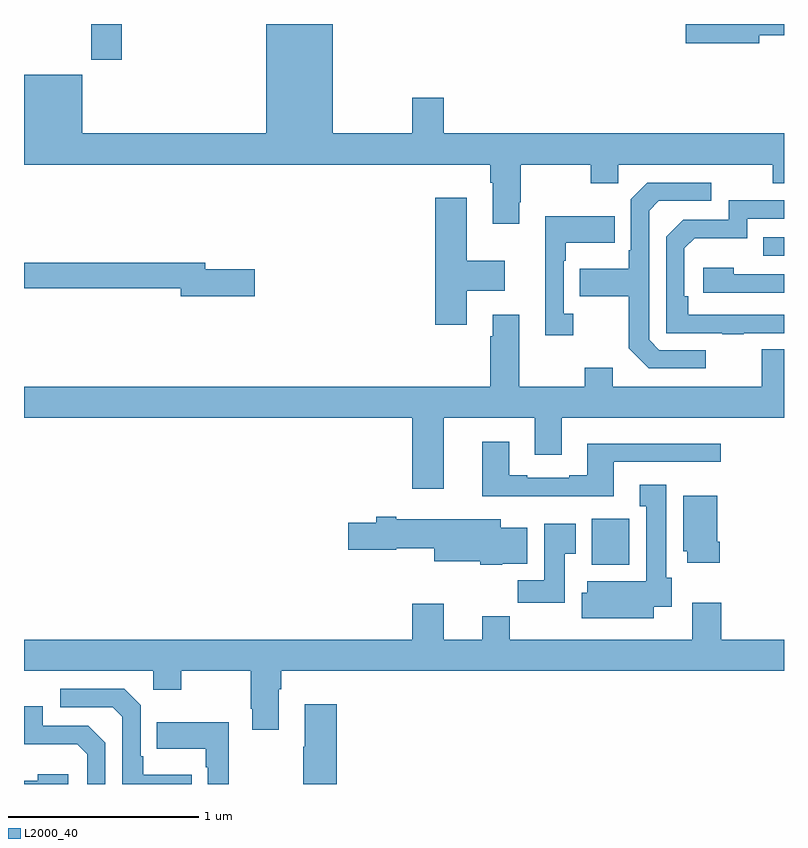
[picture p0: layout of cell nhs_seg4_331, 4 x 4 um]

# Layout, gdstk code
import gdstk
lib = gdstk.Library(unit=1e-6, precision=1e-09)
def R(c, l, rs):  # rectangles x0, y0, x1, y1
    for r in rs: c.add(gdstk.rectangle(r[:2], r[2:], *l))
def P(c, l, *ps):  # polygons
    for p in ps: c.add(gdstk.Polygon(p, *l))
L2000_40 = (2000, 40)

nhs_seg4_331 = lib.new_cell('nhs_seg4_331')
R(nhs_seg4_331, L2000_40, [(129.989,788.054,130.186,788.296), (130.891,789.681,131,789.777), (127.354,790.713,127.514,790.9)])
P(nhs_seg4_331, L2000_40, [(129.607,789.961),(129.614,789.961),(129.614,790.16),(129.982,790.16),(129.982,790.061),(130.128,790.061),(130.128,790.16),(130.942,790.16),(130.942,790.061),(131,790.061),(131,790.324),(129.208,790.324),(129.208,790.513),(129.044,790.513),(129.044,790.324),(128.626,790.324),(128.626,790.9),(128.276,790.9),(128.276,790.324),(127.306,790.324),(127.306,790.633),(127,790.633),(127,790.16),(129.455,790.16),(129.455,790.064),(129.467,790.064),(129.467,789.849),(129.607,789.849)],
  [(130.87,790.84),(131,790.84),(131,790.9),(130.482,790.9),(130.482,790.798),(130.87,790.798)],
  [(130.588,789.183),(130.344,789.183),(130.29,789.237),(130.29,789.918),(130.341,789.969),(130.618,789.969),(130.618,790.065),(130.281,790.065),(130.194,789.978),(130.194,789.709),(130.182,789.709),(130.182,789.613),(129.925,789.613),(129.925,789.466),(130.182,789.466),(130.182,789.193),(130.287,789.087),(130.588,789.087)],
  [(129.331,789.497),(129.529,789.497),(129.529,789.655),(129.331,789.655),(129.331,789.985),(129.164,789.985),(129.164,789.318),(129.331,789.318)],
  [(130.787,789.273),(131,789.273),(131,789.369),(130.496,789.369),(130.496,789.466),(130.476,789.466),(130.476,789.72),(130.529,789.773),(130.806,789.773),(130.806,789.876),(131,789.876),(131,789.972),(130.71,789.972),(130.71,789.87),(130.47,789.87),(130.38,789.78),(130.38,789.273),(130.675,789.273),(130.675,789.268),(130.787,789.268)],
  [(129.892,789.374),(129.84,789.374),(129.84,789.653),(129.852,789.653),(129.852,789.749),(130.109,789.749),(130.109,789.889),(129.743,789.889),(129.743,789.261),(129.892,789.261)],
  [(128.215,789.608),(127.954,789.608),(127.954,789.644),(127,789.644),(127,789.508),(127.826,789.508),(127.826,789.466),(128.215,789.466)],
  [(131,789.582),(130.736,789.582),(130.736,789.616),(130.575,789.616),(130.575,789.486),(131,789.486)],
  [(129.208,788.828),(129.689,788.828),(129.689,788.634),(129.829,788.634),(129.829,788.828),(131,788.828),(131,789.187),(130.883,789.187),(130.883,788.992),(130.099,788.992),(130.099,789.091),(129.952,789.091),(129.952,788.992),(129.607,788.992),(129.607,789.37),(129.467,789.37),(129.467,789.257),(129.455,789.257),(129.455,788.992),(127,788.992),(127,788.828),(129.044,788.828),(129.044,788.454),(129.208,788.454)],
  [(130.105,788.595),(130.666,788.595),(130.666,788.692),(129.965,788.692),(129.965,788.524),(129.869,788.524),(129.869,788.511),(129.649,788.511),(129.649,788.524),(129.553,788.524),(129.553,788.701),(129.413,788.701),(129.413,788.414),(130.105,788.414)],
  [(130.315,787.832),(130.408,787.832),(130.408,787.986),(130.381,787.986),(130.381,788.476),(130.241,788.476),(130.241,788.363),(130.274,788.363),(130.274,787.966),(129.965,787.966),(129.965,787.907),(129.935,787.907),(129.935,787.772),(130.315,787.772)],
  [(130.661,788.176),(130.648,788.176),(130.648,788.416),(130.469,788.416),(130.469,788.124),(130.49,788.124),(130.49,788.064),(130.661,788.064)],
  [(129.516,788.06),(129.649,788.06),(129.649,788.248),(129.508,788.248),(129.508,788.293),(128.959,788.293),(128.959,788.306),(128.855,788.306),(128.855,788.276),(128.706,788.276),(128.706,788.134),(128.959,788.134),(128.959,788.141),(129.158,788.141),(129.158,788.072),(129.402,788.072),(129.402,788.054),(129.516,788.054)],
  [(129.847,788.113),(129.904,788.113),(129.904,788.269),(129.737,788.269),(129.737,787.972),(129.598,787.972),(129.598,787.854),(129.847,787.854)],
  [(128.341,787.4),(128.354,787.4),(128.354,787.496),(131,787.496),(131,787.66),(130.67,787.66),(130.67,787.855),(130.517,787.855),(130.517,787.66),(129.557,787.66),(129.557,787.784),(129.413,787.784),(129.413,787.66),(129.208,787.66),(129.208,787.849),(129.044,787.849),(129.044,787.66),(127,787.66),(127,787.496),(127.68,787.496),(127.68,787.397),(127.827,787.397),(127.827,787.496),(128.194,787.496),(128.194,787.297),(128.201,787.297),(128.201,787.185),(128.341,787.185)],
  [(127.883,786.949),(127.627,786.949),(127.627,787.045),(127.614,787.045),(127.614,787.314),(127.527,787.401),(127.191,787.401),(127.191,787.305),(127.467,787.305),(127.518,787.254),(127.518,786.9),(127.883,786.9)],
  [(128.645,787.321),(128.477,787.321),(128.477,787.097),(128.47,787.097),(128.47,786.9),(128.645,786.9)],
  [(127.428,787.116),(127.338,787.206),(127.098,787.206),(127.098,787.308),(127,787.308),(127,787.212),(127.002,787.212),(127.002,787.109),(127.279,787.109),(127.332,787.056),(127.332,786.9),(127.428,786.9)],
  [(128.077,787.225),(127.699,787.225),(127.699,787.085),(127.956,787.085),(127.956,786.989),(127.968,786.989),(127.968,786.9),(128.077,786.9)],
  [(127.234,786.952),(127.073,786.952),(127.073,786.918),(127,786.918),(127,786.9),(127.234,786.9)])

lib.write_gds('nhs_seg4_331.gds')
